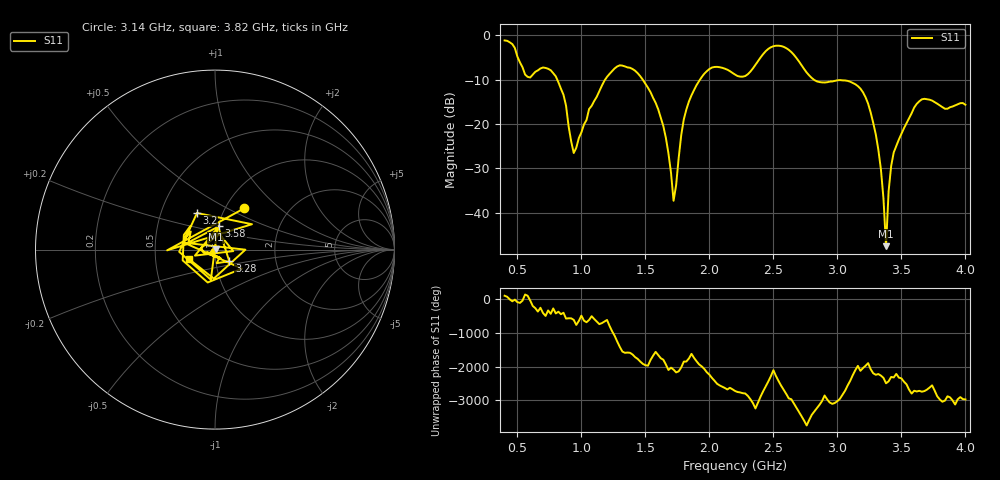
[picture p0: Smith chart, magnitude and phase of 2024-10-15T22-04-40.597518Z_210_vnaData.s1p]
! Created with skrf (http://scikit-rf.org).
# Hz S RI R 50.0
!freq ReS11 ImS11
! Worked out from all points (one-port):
!   181 points, 400 MHz to 4 GHz, reference 50 ohm
!   lowest |S11| = -47.5 dB at 3.38 GHz (marker M1), VSWR 1.01, Z = 50.4 + j0.178 ohm
!   |S11| at or under -10 dB: 810.9 MHz to 1.186 GHz (375 MHz wide, 37.6 % of centre); 1.479 GHz to 1.927 GHz (448.4 MHz wide, 26.3 % of centre); 2.815 GHz to end of sweep
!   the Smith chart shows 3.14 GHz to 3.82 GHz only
!   S11 on the Smith chart (normalised r, x): 3.14 GHz: 1.22, +0.61; 3.2 GHz: 0.76, +0.33; 3.28 GHz: 1.16, -0.15; 3.58 GHz: 1.01, +0.27; 3.82 GHz: 0.74, -0.08
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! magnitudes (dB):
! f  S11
! 400 MHz  -1.2
! 560 MHz  -8.9
! 740 MHz  -7.6
! 860 MHz  -13.4
! 940 MHz  -26.5
! 1.06 GHz  -16.6
! 1.3 GHz  -6.8
! 1.58 GHz  -15.2
! 1.66 GHz  -23.1
! 1.72 GHz  -37.3
! 1.76 GHz  -27.6
! 1.82 GHz  -16.7
! 1.94 GHz  -9.4
! 2.2 GHz  -8.9
! 2.5 GHz  -2.5
! 2.66 GHz  -4.4
! 2.84 GHz  -10.4
! 3.1 GHz  -10.5
! 3.14 GHz  -11.1
! 3.2 GHz  -12.9
! 3.28 GHz  -19.8
! 3.34 GHz  -30.2
! 3.38 GHz  -47.5
! 3.42 GHz  -29.5
! 3.56 GHz  -18.7
! 3.58 GHz  -17.6
! 3.82 GHz  -16.2
! 4 GHz  -15.7
